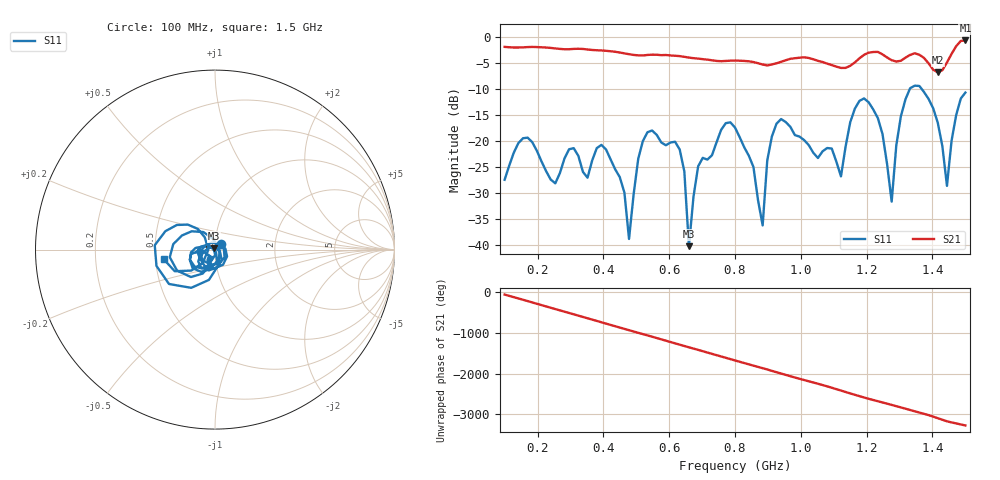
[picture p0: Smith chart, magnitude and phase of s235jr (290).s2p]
! NanoVNA-App
! Date: 2025-09-25 15:06:25
! Start: 100MHz Stop: 1,5GHz Points: 101
! S-Parameter data: F S11 S21 S12 S22
# Hz S RI R 50
!  Frequency  S11_Real  S11_Imag  S21_Real  S21_Imag  S12_Real  S12_Imag  S22_Real  S22_Imag
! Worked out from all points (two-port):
!   101 points, 100 MHz to 1.5 GHz, reference 50 ohm
!   highest |S21| = -0.73 dB at 1.5 GHz (marker M1); lowest = -6.9 dB at 1.416 GHz (marker M2)
!   |S21| within 3 dB of the highest: start of sweep to 631.2 MHz; 1.187 GHz to 1.256 GHz (68.75 MHz wide, 5.63 % of centre)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
!   lowest |S11| = -40.2 dB at 660 MHz (marker M3), VSWR 1.02, Z = 49.2 + j0.605 ohm
!   |S11| at or under -10 dB: start of sweep to 1.331 GHz; 1.367 GHz to end of sweep
!   S12 and S22 are empty: the file has one direction only
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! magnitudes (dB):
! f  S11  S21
! 100 MHz  -27.5  -2.0
! 170 MHz  -19.4  -2.0
! 338 MHz  -26.0  -2.4
! 408 MHz  -21.6  -2.7
! 478 MHz  -38.8  -3.4
! 520 MHz  -20.0  -3.6
! 576 MHz  -20.3  -3.6
! 632 MHz  -21.7  -3.7
! 660 MHz  -40.2  -4.0
! 688 MHz  -24.9  -4.2
! 800 MHz  -17.4  -4.6
! 884 MHz  -36.2  -5.3
! 926 MHz  -16.7  -5.1
! 1.038 GHz  -22.3  -4.3
! 1.122 GHz  -26.8  -6.0
! 1.192 GHz  -11.9  -3.5
! 1.248 GHz  -18.6  -3.4
! 1.276 GHz  -31.7  -4.5
! 1.332 GHz  -9.9  -3.5
! 1.416 GHz  -16.5  -6.9
! 1.444 GHz  -28.6  -5.0
! 1.5 GHz  -10.7  -0.7
